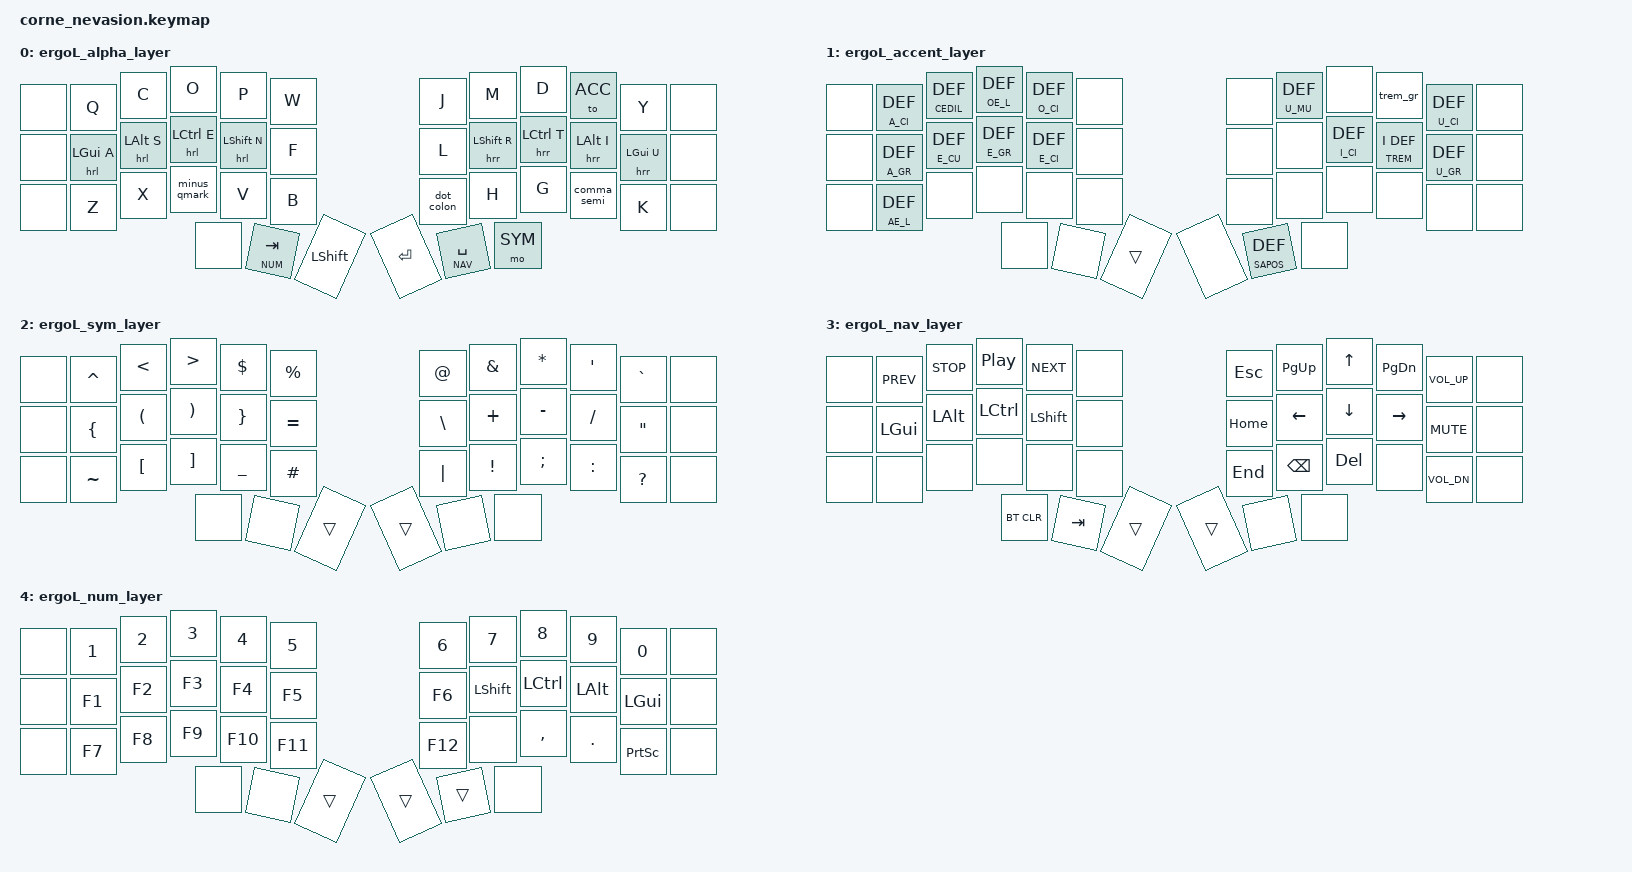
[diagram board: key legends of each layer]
#include <behaviors.dtsi>
#include <dt-bindings/zmk/keys.h>
#include <dt-bindings/zmk/bt.h>

#include "zmk-helpers/helper.h"
#include "zmk-helpers/keypos_def/keypos_42keys.h"
#include "zmk-helpers/international_chars/french.dtsi"
#include "zmk-helpers/international_chars/greek.dtsi"
#include "zmk-helpers/international_chars/currency.dtsi"

/* Homerow mods */
#define KEYS_L LT0 LT1 LT2 LT3 LT4 LM0 LM1 LM2 LM3 LM4 LB0 LB1 LB2 LB3 LB4
#define KEYS_R RT0 RT1 RT2 RT3 RT4 RM0 RM1 RM2 RM3 RM4 RB0 RB1 RB2 RB3 RB4
#define KEYS_T LH2 LH1 LH0 RH0 RH1 RH2

/* Keys shortcuts */
#define ___ &trans
#define XXX &none
#define SPC SPACE
#define ACC_GR RA(LBKT) // `
#define ACC_TR LS(LBKT) // ¨

/* Layers ids */
#define DEF 0
#define ACC 1
#define SYM 2
#define NAV 3
#define NUM 4

/* sticky-key config */
&sk {
    release-after-ms = <900>;  // release after 0.9s
    quick-release;             // no double capitalization when rolling keys
};

// &lt {
//      tapping-term-ms = <200>
// };

/* tap-dance */
ZMK_BEHAVIOR(td_sp, tap_dance,
    tapping-term-ms = <200>;
    bindings = <&lt NAV SPACE>, <&kp SPACE>;
)

/* hold-tap */
ZMK_BEHAVIOR(hrl, hold_tap,
    flavor = "balanced";
    tapping-term-ms = <500>;
    quick-tap-ms = <175>;
    bindings = <&kp>, <&kp>;
    require-prior-idle-ms = <150>;
    hold-trigger-key-positions = <KEYS_R KEYS_T>;
    hold-trigger-on-release;
)
ZMK_BEHAVIOR(hrr, hold_tap,
    flavor = "balanced";
    tapping-term-ms = <500>;
    quick-tap-ms = <175>;
    bindings = <&kp>, <&kp>;
    require-prior-idle-ms = <150>;
    hold-trigger-key-positions = <KEYS_L KEYS_T>;
    hold-trigger-on-release;
)

/* macros */
ZMK_BEHAVIOR(A_GR,  macro_one_param, bindings = <&fr_a_gr>, <&macro_param_1to1>, <&to MACRO_PLACEHOLDER>;)       // À
ZMK_BEHAVIOR(A_CI,  macro_one_param, bindings = <&fr_a_cf>, <&macro_param_1to1>, <&to MACRO_PLACEHOLDER>;)       // Â
ZMK_BEHAVIOR(E_CU,  macro_one_param, bindings = <&fr_e_ac>, <&macro_param_1to1>, <&to MACRO_PLACEHOLDER>;)       // É
ZMK_BEHAVIOR(E_GR,  macro_one_param, bindings = <&fr_e_gr>, <&macro_param_1to1>, <&to MACRO_PLACEHOLDER>;)       // È
ZMK_BEHAVIOR(E_CI,  macro_one_param, bindings = <&fr_e_cf>, <&macro_param_1to1>, <&to MACRO_PLACEHOLDER>;)       // Ê
ZMK_BEHAVIOR(I_CI,  macro_one_param, bindings = <&fr_i_cf>, <&macro_param_1to1>, <&to MACRO_PLACEHOLDER>;)       // Î
ZMK_BEHAVIOR(O_CI,  macro_one_param, bindings = <&fr_o_cf>, <&macro_param_1to1>, <&to MACRO_PLACEHOLDER>;)       // Ô
ZMK_BEHAVIOR(U_CI,  macro_one_param, bindings = <&fr_u_cf>, <&macro_param_1to1>, <&to MACRO_PLACEHOLDER>;)       // Û
ZMK_BEHAVIOR(U_GR,  macro_one_param, bindings = <&fr_u_gr>, <&macro_param_1to1>, <&to MACRO_PLACEHOLDER>;)       // Ù
ZMK_BEHAVIOR(AE_L,  macro_one_param, bindings = <&fr_ae>,   <&macro_param_1to1>, <&to MACRO_PLACEHOLDER>;)       // Æ
ZMK_BEHAVIOR(OE_L,  macro_one_param, bindings = <&fr_oe>,   <&macro_param_1to1>, <&to MACRO_PLACEHOLDER>;)       // Œ
ZMK_BEHAVIOR(CEDIL, macro_one_param, bindings = <&fr_c_cd>, <&macro_param_1to1>, <&to MACRO_PLACEHOLDER>;)       // Ç
ZMK_BEHAVIOR(SAPOS, macro_one_param, bindings = <&kp APOS>, <&macro_param_1to1>, <&to MACRO_PLACEHOLDER>;)       // '
ZMK_BEHAVIOR(U_MU,  macro_one_param, bindings = <&el_mu>,   <&macro_param_1to1>, <&to MACRO_PLACEHOLDER>;)       // μ
ZMK_BEHAVIOR(KPD,   macro_two_param, bindings =
    <&macro_param_1to1>,
    <&kp MACRO_PLACEHOLDER>,
    <&macro_param_2to1>,
    <&to MACRO_PLACEHOLDER>;
)
ZMK_BEHAVIOR(TREM, macro_two_param, bindings = // ¨ to input
    <&kp LS(LBKT)>,
    <&macro_param_1to1>,
    <&macro_tap &kp MACRO_PLACEHOLDER>,
    <&macro_param_2to1>,
    <&to MACRO_PLACEHOLDER>;
)

 /* mod-morph */
ZMK_BEHAVIOR(bspc_del, mod_morph, // tap: backspace | shift+tap: delete
    bindings = <&kp BACKSPACE>, <&kp DELETE>;
    mods = <(MOD_LSFT|MOD_RSFT)>;
)
ZMK_BEHAVIOR(comma_semi, mod_morph, // tap: comma | shift+tap: semi-colon
    bindings = <&kp COMMA>, <&kp SEMI>;
    mods = <(MOD_LSFT|MOD_RSFT)>;
)
ZMK_BEHAVIOR(minus_qmark, mod_morph, // tap: minus | shift+tap: question mark
    bindings = <&kp MINUS>, <&kp QMARK>;
    mods = <(MOD_LSFT|MOD_RSFT)>;
)
ZMK_BEHAVIOR(dot_colon, mod_morph, // tap: dot | shift+tap: colon
    bindings = <&kp DOT>, <&kp COLON>;
    mods = <(MOD_LSFT|MOD_RSFT)>;
)
ZMK_BEHAVIOR(smrtshft, mod_morph, // tap: sticky-shift | shift+tap / double-tap: caps-word | hold: shift
    bindings = <&sk LSHIFT>, <&caps_word>;
    mods = <(MOD_LSFT)>;
)
ZMK_BEHAVIOR(trem_gr, mod_morph, // tap: trema | shift+tap: grave
    bindings = <&KPD ACC_TR DEF>, <&KPD ACC_GR DEF>;
    mods = <(MOD_LSFT|MOD_RSFT)>;
)

/* combos */
ZMK_COMBO(underscore,         &kp UNDER,     LB2 LB1, DEF)
ZMK_COMBO(equal,              &kp EQUAL,     RB2 RB1, DEF)
ZMK_COMBO(tilde,              &kp TILDE,     LT2 LT1, DEF)

/*
removed
- left col: escape, qwerty, ctrl
- left thumb: space
- right col: backspace+delete, quote+dquote, bslash+pipe
- right thumb: symbol layer
*/

/* layers */
ZMK_LAYER(ergoL_alpha_layer,
     // ╭─────────────┬─────────────┬─────────────┬─────────────┬─────────────┬─────────────╮   ╭─────────────┬─────────────┬─────────────┬─────────────┬─────────────┬─────────────╮
          XXX           &kp Q         &kp C         &kp O         &kp P         &kp W             &kp J         &kp M         &kp D         &to ACC       &kp Y         XXX
     // ├─────────────┼─────────────┼─────────────┼─────────────┼─────────────┼─────────────┤   ├─────────────┼─────────────┼─────────────┼─────────────┼─────────────┼─────────────┤
          XXX           &hrl LGUI A   &hrl LALT S   &hrl LCTRL E  &hrl LSHFT N  &kp F             &kp L         &hrr LSHFT R  &hrr LCTRL T  &hrr LALT I   &hrr LGUI U   XXX
     // ├─────────────┼─────────────┼─────────────┼─────────────┼─────────────┼─────────────┤   ├─────────────┼─────────────┼─────────────┼─────────────┼─────────────┼─────────────┤
          XXX           &kp Z         &kp X         &minus_qmark  &kp V         &kp B             &dot_colon    &kp H         &kp G         &comma_semi   &kp K         XXX
     // ╰─────────────┴─────────────┴─────────────┼─────────────┼─────────────┼─────────────┤   ├─────────────┼─────────────┼─────────────┼─────────────┴─────────────┴─────────────╯
                                                    XXX           &lt NUM TAB   &kp LSHFT         &kp RET       &lt NAV SPC   &mo SYM
     //                                           ╰─────────────┴─────────────┴─────────────╯   ╰─────────────┴─────────────┴─────────────╯
)
ZMK_LAYER(ergoL_accent_layer,
     // ╭─────────────┬─────────────┬─────────────┬─────────────┬─────────────┬─────────────╮   ╭─────────────┬─────────────┬─────────────┬─────────────┬─────────────┬─────────────╮
          XXX           &A_CI DEF     &CEDIL DEF    &OE_L DEF     &O_CI DEF     XXX               XXX           &U_MU DEF     XXX           &trem_gr      &U_CI DEF     XXX
     // ├─────────────┼─────────────┼─────────────┼─────────────┼─────────────┼─────────────┤   ├─────────────┼─────────────┼─────────────┼─────────────┼─────────────┼─────────────┤
          XXX           &A_GR DEF     &E_CU DEF     &E_GR DEF     &E_CI DEF     XXX               XXX           XXX           &I_CI DEF     &TREM I DEF   &U_GR DEF     XXX
     // ├─────────────┼─────────────┼─────────────┼─────────────┼─────────────┼─────────────┤   ├─────────────┼─────────────┼─────────────┼─────────────┼─────────────┼─────────────┤
          XXX           &AE_L DEF     XXX           XXX           XXX           XXX               XXX           XXX           XXX           XXX           XXX           XXX
     // ╰─────────────┴─────────────┴─────────────┼─────────────┼─────────────┼─────────────┤   ├─────────────┼─────────────┼─────────────┼─────────────┴─────────────┴─────────────╯
                                                    XXX           XXX           ___               XXX           &SAPOS DEF    XXX
     //                                           ╰─────────────┴─────────────┴─────────────╯   ╰─────────────┴─────────────┴─────────────╯
)
ZMK_LAYER(ergoL_sym_layer,
     // ╭─────────────┬─────────────┬─────────────┬─────────────┬─────────────┬─────────────╮   ╭─────────────┬─────────────┬─────────────┬─────────────┬─────────────┬─────────────╮
          XXX           &kp CARET     &kp LT        &kp GT        &kp DOLLAR    &kp PERCENT       &kp AT        &kp AMPS      &kp STAR      &kp APOS      &kp GRAVE     XXX
     // ├─────────────┼─────────────┼─────────────┼─────────────┼─────────────┼─────────────┤   ├─────────────┼─────────────┼─────────────┼─────────────┼─────────────┼─────────────┤
          XXX           &kp LBRC      &kp LPAR      &kp RPAR      &kp RBRC      &kp EQUAL         &kp BSLH      &kp PLUS      &kp MINUS     &kp FSLH      &kp DQT       XXX
     // ├─────────────┼─────────────┼─────────────┼─────────────┼─────────────┼─────────────┤   ├─────────────┼─────────────┼─────────────┼─────────────┼─────────────┼─────────────┤
          XXX           &kp TILDE     &kp LBKT      &kp RBKT      &kp UNDER     &kp HASH          &kp PIPE      &kp EXCL      &kp SEMI      &kp COLON     &kp QMARK     XXX
     // ╰─────────────┴─────────────┴─────────────┼─────────────┼─────────────┼─────────────┤   ├─────────────┼─────────────┼─────────────┼─────────────┴─────────────┴─────────────╯
                                                    XXX           XXX           ___               ___           XXX           XXX
     //                                           ╰─────────────┴─────────────┴─────────────╯   ╰─────────────┴─────────────┴─────────────╯
)
ZMK_LAYER(ergoL_nav_layer,
     // ╭─────────────┬─────────────┬─────────────┬─────────────┬─────────────┬─────────────╮   ╭─────────────┬─────────────┬─────────────┬─────────────┬─────────────┬─────────────╮
          XXX           &kp C_PREV    &kp C_STOP    &kp C_PP      &kp C_NEXT    XXX               &kp ESC       &kp PG_UP     &kp UP        &kp PG_DN     &kp C_VOL_UP  XXX
     // ├─────────────┼─────────────┼─────────────┼─────────────┼─────────────┼─────────────┤   ├─────────────┼─────────────┼─────────────┼─────────────┼─────────────┼─────────────┤
          XXX           &kp LGUI      &kp LALT      &kp LCTRL     &kp LSHFT     XXX               &kp HOME      &kp LEFT      &kp DOWN      &kp RIGHT     &kp C_MUTE    XXX
     // ├─────────────┼─────────────┼─────────────┼─────────────┼─────────────┼─────────────┤   ├─────────────┼─────────────┼─────────────┼─────────────┼─────────────┼─────────────┤
          XXX           XXX           XXX           XXX           XXX           XXX               &kp END       &kp BSPC      &kp DEL       XXX           &kp C_VOL_DN  XXX
     // ╰─────────────┴─────────────┴─────────────┼─────────────┼─────────────┼─────────────┤   ├─────────────┼─────────────┼─────────────┼─────────────┴─────────────┴─────────────╯
                                                    &bt BT_CLR    &kp TAB       ___               ___           XXX           XXX
     //                                           ╰─────────────┴─────────────┴─────────────╯   ╰─────────────┴─────────────┴─────────────╯
)
ZMK_LAYER(ergoL_num_layer,
     // ╭─────────────┬─────────────┬─────────────┬─────────────┬─────────────┬─────────────╮   ╭─────────────┬─────────────┬─────────────┬─────────────┬─────────────┬─────────────╮
          XXX           &kp N1        &kp N2        &kp N3        &kp N4        &kp N5            &kp N6        &kp N7        &kp N8        &kp N9        &kp N0        XXX
     // ├─────────────┼─────────────┼─────────────┼─────────────┼─────────────┼─────────────┤   ├─────────────┼─────────────┼─────────────┼─────────────┼─────────────┼─────────────┤
          XXX           &kp F1        &kp F2        &kp F3        &kp F4        &kp F5            &kp F6        &kp LSHFT     &kp LCTRL     &kp LALT      &kp LGUI      XXX
     // ├─────────────┼─────────────┼─────────────┼─────────────┼─────────────┤   ├─────────────┼─────────────┼─────────────┼─────────────┼─────────────┼─────────────┼─────────────┤
          XXX           &kp F7        &kp F8        &kp F9        &kp F10       &kp F11           &kp F12       XXX           &kp COMMA     &kp DOT       &kp PSCRN     XXX
     // ╰─────────────┴─────────────┴─────────────┼─────────────┼─────────────┼─────────────┤   ├─────────────┼─────────────┼─────────────┼─────────────┴─────────────┴─────────────╯
                                                    XXX           XXX           ___               ___           ___           XXX
     //                                           ╰─────────────┴─────────────┴─────────────╯   ╰─────────────┴─────────────┴─────────────╯
)
